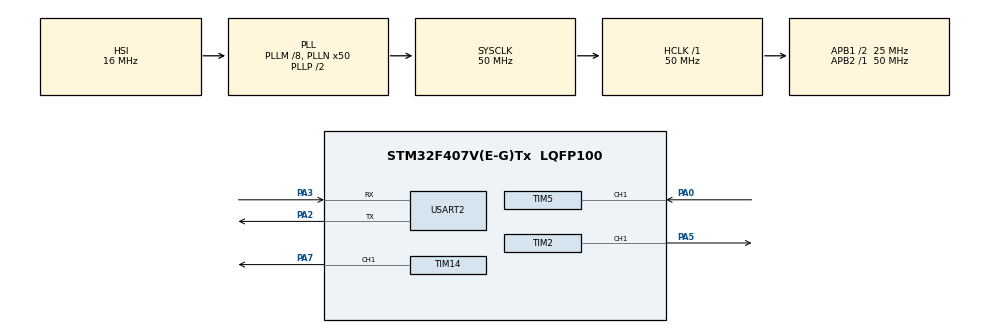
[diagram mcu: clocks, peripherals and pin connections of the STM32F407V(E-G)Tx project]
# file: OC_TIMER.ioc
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Mcu.Family=STM32F4
Mcu.Name=STM32F407V(E-G)Tx
Mcu.Package=LQFP100
NVIC.PriorityGroup=NVIC_PRIORITYGROUP_4
NVIC.TIM2_IRQn=true\:0\:0\:false\:false\:true\:true\:true
NVIC.TIM5_IRQn=true\:0\:0\:false\:false\:true\:true\:true
NVIC.TIM8_TRG_COM_TIM14_IRQn=true\:0\:0\:false\:false\:true\:true\:true
PA0-WKUP.Signal=S_TIM5_CH1
PA2.Mode=Asynchronous
PA2.Signal=USART2_TX
PA3.Mode=Asynchronous
PA3.Signal=USART2_RX
PA5.Signal=S_TIM2_CH1_ETR
PA7.Signal=S_TIM14_CH1
ProjectManager.HeapSize=0x200
ProjectManager.StackSize=0x400
ProjectManager.TargetToolchain=STM32CubeIDE
RCC.48MHZClocksFreq_Value=25000000
RCC.AHBFreq_Value=50000000
RCC.APB1CLKDivider=RCC_HCLK_DIV2
RCC.APB1Freq_Value=25000000
RCC.APB1TimFreq_Value=50000000
RCC.APB2Freq_Value=50000000
RCC.APB2TimFreq_Value=50000000
RCC.CortexFreq_Value=50000000
RCC.HCLKFreq_Value=50000000
RCC.HSE_VALUE=25000000
RCC.HSI_VALUE=16000000
RCC.LSE_VALUE=32768
RCC.PLLM=8
RCC.PLLN=50
RCC.SYSCLKFreq_VALUE=50000000
RCC.SYSCLKSource=RCC_SYSCLKSOURCE_PLLCLK
RCC.VCOOutputFreq_Value=100000000
SH.S_TIM14_CH1.0=TIM14_CH1,PWM Generation1 CH1
SH.S_TIM2_CH1_ETR.0=TIM2_CH1,Output Compare1 CH1
SH.S_TIM5_CH1.0=TIM5_CH1,Input_Capture1_from_TI1
TIM14.Channel=TIM_CHANNEL_1
TIM14.Period=4999
TIM14.Prescaler=9999
TIM14.Pulse=2000
TIM2.Channel-Output\ Compare1\ CH1=TIM_CHANNEL_1
TIM2.OCMode_1=TIM_OCMODE_TOGGLE
TIM2.Prescaler=4999
TIM2.Pulse-Output\ Compare1\ CH1=2500
TIM5.Channel-Input_Capture1_from_TI1=TIM_CHANNEL_1
TIM5.Prescaler=1
USART2.VirtualMode=VM_ASYNC
VP_TIM14_VS_ClockSourceINT.Mode=Enable_Timer
board=custom

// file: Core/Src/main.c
/* USER CODE BEGIN Header */
/**
  ******************************************************************************
  * @file           : main.c
  * @brief          : Main program body
  ******************************************************************************
  * @attention
  *
  * <h2><center>&copy; Copyright (c) 2021 STMicroelectronics.
  * All rights reserved.</center></h2>
  *
  * This software component is licensed by ST under BSD 3-Clause license,
  * the "License"; You may not use this file except in compliance with the
  * License. You may obtain a copy of the License at:
  *                        opensource.org/licenses/BSD-3-Clause
  *
  ******************************************************************************
  */
/* USER CODE END Header */
#include "main.h"

/* USER CODE BEGIN Includes */
#include "string.h"
#include "stdio.h"
/* USER CODE END Includes */

TIM_HandleTypeDef htim2;
TIM_HandleTypeDef htim5;
TIM_HandleTypeDef htim14;

UART_HandleTypeDef huart2;

void SystemClock_Config(void);
static void MX_GPIO_Init(void);
static void MX_TIM2_Init(void);
static void MX_TIM5_Init(void);
static void MX_USART2_UART_Init(void);
static void MX_TIM14_Init(void);

/* USER CODE BEGIN 0 */
volatile uint32_t Pulse = 2500;
volatile uint32_t ccr_content=0;

uint32_t input_captures[2] = {0};
uint8_t count=1;
volatile uint8_t is_capture_done = 0;

/* USER CODE END 0 */

int main(void)
{
  /* USER CODE BEGIN 1 */
	uint32_t capture_difference =0;
	double timer2_cnt_freq=0;
	double timer2_cnt_res=0;
	double user_signal_time_period =0;
	double user_signal_freq=0;
	char usr_msg[100];
	HAL_Init();
  /* USER CODE END 1 */

  /* MCU Configuration--------------------------------------------------------*/

  /* Reset of all peripherals, Initializes the Flash interface and the Systick. */
  HAL_Init();

  /* Configure the system clock */
  SystemClock_Config();

  /* Initialize all configured peripherals */
  MX_GPIO_Init();
  MX_TIM2_Init();
  MX_TIM5_Init();
  MX_USART2_UART_Init();
  MX_TIM14_Init();
  /* USER CODE BEGIN 2 */
  HAL_TIM_OC_Start_IT(&htim2, TIM_CHANNEL_1);
  HAL_TIM_IC_Start_IT(&htim5, TIM_CHANNEL_1);
  HAL_TIM_PWM_Start(&htim14, TIM_CHANNEL_1);
  /* USER CODE END 2 */

  /* Infinite loop */
  while (1)
  {

    /* USER CODE BEGIN 3 */
		if(is_capture_done)
		{
			if(input_captures[1] > input_captures[0])
				capture_difference = input_captures[1] - input_captures[0];
			else
				capture_difference = (0XFFFFFFFF -input_captures[0]) + input_captures[1];

		timer2_cnt_freq = (HAL_RCC_GetPCLK1Freq() * 2 ) / (htim5.Init.Prescaler + 1);
		timer2_cnt_res = 1/ timer2_cnt_freq;
		user_signal_time_period = capture_difference * timer2_cnt_res;
		user_signal_freq = 1/user_signal_time_period ;

		sprintf(usr_msg,"Frequency of the signal applied = %.2f Hz\r\n",user_signal_freq );
		HAL_UART_Transmit(&huart2,(uint8_t*)usr_msg,strlen(usr_msg),HAL_MAX_DELAY);

		is_capture_done = 0;

		}

  }
  /* USER CODE END 3 */
}

void SystemClock_Config(void)
{
  RCC_OscInitTypeDef RCC_OscInitStruct = {0};
  RCC_ClkInitTypeDef RCC_ClkInitStruct = {0};

  /** Configure the main internal regulator output voltage
  */
  __HAL_RCC_PWR_CLK_ENABLE();
  __HAL_PWR_VOLTAGESCALING_CONFIG(PWR_REGULATOR_VOLTAGE_SCALE1);
  /** Initializes the RCC Oscillators according to the specified parameters
  * in the RCC_OscInitTypeDef structure.
  */
  RCC_OscInitStruct.OscillatorType = RCC_OSCILLATORTYPE_HSI;
  RCC_OscInitStruct.HSIState = RCC_HSI_ON;
  RCC_OscInitStruct.HSICalibrationValue = RCC_HSICALIBRATION_DEFAULT;
  RCC_OscInitStruct.PLL.PLLState = RCC_PLL_ON;
  RCC_OscInitStruct.PLL.PLLSource = RCC_PLLSOURCE_HSI;
  RCC_OscInitStruct.PLL.PLLM = 8;
  RCC_OscInitStruct.PLL.PLLN = 50;
  RCC_OscInitStruct.PLL.PLLP = RCC_PLLP_DIV2;
  RCC_OscInitStruct.PLL.PLLQ = 4;
  if (HAL_RCC_OscConfig(&RCC_OscInitStruct) != HAL_OK)
  {
    Error_Handler();
  }
  /** Initializes the CPU, AHB and APB buses clocks
  */
  RCC_ClkInitStruct.ClockType = RCC_CLOCKTYPE_HCLK|RCC_CLOCKTYPE_SYSCLK
                              |RCC_CLOCKTYPE_PCLK1|RCC_CLOCKTYPE_PCLK2;
  RCC_ClkInitStruct.SYSCLKSource = RCC_SYSCLKSOURCE_PLLCLK;
  RCC_ClkInitStruct.AHBCLKDivider = RCC_SYSCLK_DIV1;
  RCC_ClkInitStruct.APB1CLKDivider = RCC_HCLK_DIV2;
  RCC_ClkInitStruct.APB2CLKDivider = RCC_HCLK_DIV1;

  if (HAL_RCC_ClockConfig(&RCC_ClkInitStruct, FLASH_LATENCY_1) != HAL_OK)
  {
    Error_Handler();
  }
}

static void MX_TIM2_Init(void)
{

  TIM_MasterConfigTypeDef sMasterConfig = {0};
  TIM_OC_InitTypeDef sConfigOC = {0};

  htim2.Instance = TIM2;
  htim2.Init.Prescaler = 4999;
  htim2.Init.CounterMode = TIM_COUNTERMODE_UP;
  htim2.Init.Period = 4294967295;
  htim2.Init.ClockDivision = TIM_CLOCKDIVISION_DIV1;
  htim2.Init.AutoReloadPreload = TIM_AUTORELOAD_PRELOAD_DISABLE;
  if (HAL_TIM_OC_Init(&htim2) != HAL_OK)
  {
    Error_Handler();
  }
  sMasterConfig.MasterOutputTrigger = TIM_TRGO_RESET;
  sMasterConfig.MasterSlaveMode = TIM_MASTERSLAVEMODE_DISABLE;
  if (HAL_TIMEx_MasterConfigSynchronization(&htim2, &sMasterConfig) != HAL_OK)
  {
    Error_Handler();
  }
  sConfigOC.OCMode = TIM_OCMODE_TOGGLE;
  sConfigOC.Pulse = (( htim2.Init.Prescaler+1)*25)/100;
  sConfigOC.OCPolarity = TIM_OCPOLARITY_HIGH;
  sConfigOC.OCFastMode = TIM_OCFAST_DISABLE;
  if (HAL_TIM_OC_ConfigChannel(&htim2, &sConfigOC, TIM_CHANNEL_1) != HAL_OK)
  {
    Error_Handler();
  }
  HAL_TIM_MspPostInit(&htim2);

}

static void MX_TIM5_Init(void)
{

  TIM_MasterConfigTypeDef sMasterConfig = {0};
  TIM_IC_InitTypeDef sConfigIC = {0};

  htim5.Instance = TIM5;
  htim5.Init.Prescaler = 1;
  htim5.Init.CounterMode = TIM_COUNTERMODE_UP;
  htim5.Init.Period = 4294967295;
  htim5.Init.ClockDivision = TIM_CLOCKDIVISION_DIV1;
  htim5.Init.AutoReloadPreload = TIM_AUTORELOAD_PRELOAD_DISABLE;
  if (HAL_TIM_IC_Init(&htim5) != HAL_OK)
  {
    Error_Handler();
  }
  sMasterConfig.MasterOutputTrigger = TIM_TRGO_RESET;
  sMasterConfig.MasterSlaveMode = TIM_MASTERSLAVEMODE_DISABLE;
  if (HAL_TIMEx_MasterConfigSynchronization(&htim5, &sMasterConfig) != HAL_OK)
  {
    Error_Handler();
  }
  sConfigIC.ICPolarity = TIM_INPUTCHANNELPOLARITY_RISING;
  sConfigIC.ICSelection = TIM_ICSELECTION_DIRECTTI;
  sConfigIC.ICPrescaler = TIM_ICPSC_DIV1;
  sConfigIC.ICFilter = 0;
  if (HAL_TIM_IC_ConfigChannel(&htim5, &sConfigIC, TIM_CHANNEL_1) != HAL_OK)
  {
    Error_Handler();
  }

}

static void MX_TIM14_Init(void)
{

  TIM_OC_InitTypeDef sConfigOC = {0};

  htim14.Instance = TIM14;
  htim14.Init.Prescaler = 9999;
  htim14.Init.CounterMode = TIM_COUNTERMODE_UP;
  htim14.Init.Period = 4999;
  htim14.Init.ClockDivision = TIM_CLOCKDIVISION_DIV1;
  htim14.Init.AutoReloadPreload = TIM_AUTORELOAD_PRELOAD_DISABLE;
  if (HAL_TIM_Base_Init(&htim14) != HAL_OK)
  {
    Error_Handler();
  }
  if (HAL_TIM_PWM_Init(&htim14) != HAL_OK)
  {
    Error_Handler();
  }
  sConfigOC.OCMode = TIM_OCMODE_PWM1;
  sConfigOC.Pulse = ((4999+1)*10)/100;
  sConfigOC.OCPolarity = TIM_OCPOLARITY_HIGH;
  sConfigOC.OCFastMode = TIM_OCFAST_DISABLE;
  if (HAL_TIM_PWM_ConfigChannel(&htim14, &sConfigOC, TIM_CHANNEL_1) != HAL_OK)
  {
    Error_Handler();
  }
  HAL_TIM_MspPostInit(&htim14);

}

static void MX_USART2_UART_Init(void)
{

  huart2.Instance = USART2;
  huart2.Init.BaudRate = 115200;
  huart2.Init.WordLength = UART_WORDLENGTH_8B;
  huart2.Init.StopBits = UART_STOPBITS_1;
  huart2.Init.Parity = UART_PARITY_NONE;
  huart2.Init.Mode = UART_MODE_TX_RX;
  huart2.Init.HwFlowCtl = UART_HWCONTROL_NONE;
  huart2.Init.OverSampling = UART_OVERSAMPLING_16;
  if (HAL_UART_Init(&huart2) != HAL_OK)
  {
    Error_Handler();
  }

}

static void MX_GPIO_Init(void)
{

  /* GPIO Ports Clock Enable */
  __HAL_RCC_GPIOA_CLK_ENABLE();

}

/* USER CODE BEGIN 4 */
void HAL_TIM_OC_DelayElapsedCallback(TIM_HandleTypeDef *htim){
	   if(htim->Channel == HAL_TIM_ACTIVE_CHANNEL_1)
	   {
		   ccr_content = HAL_TIM_ReadCapturedValue(htim,TIM_CHANNEL_1);
		   __HAL_TIM_SET_COMPARE(htim,TIM_CHANNEL_1,ccr_content+Pulse);
	   }

}

void HAL_TIM_IC_CaptureCallback(TIM_HandleTypeDef *htim)
{

if(! is_capture_done)
{
	 if(count == 1)
	 {
		 input_captures[0] = __HAL_TIM_GET_COMPARE(htim, TIM_CHANNEL_1);
		 count++;
	 }
	 else if (count == 2)
	 {
		 input_captures[1] = __HAL_TIM_GET_COMPARE(htim, TIM_CHANNEL_1);
		 count =1;
		 is_capture_done = 1;
	 }

}

}
/* USER CODE END 4 */

void Error_Handler(void)
{
  __disable_irq();
  while (1)
  {
  }
}

/************************ (C) COPYRIGHT STMicroelectronics *****END OF FILE****/
